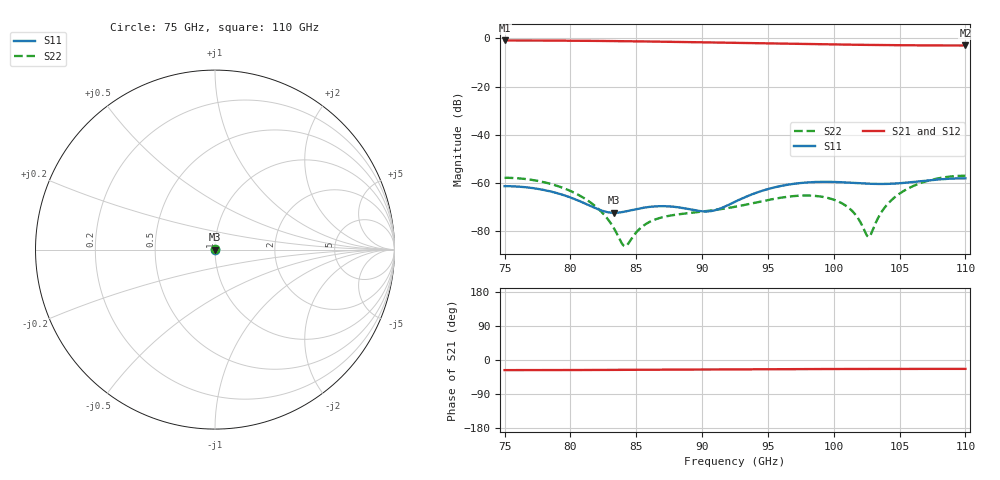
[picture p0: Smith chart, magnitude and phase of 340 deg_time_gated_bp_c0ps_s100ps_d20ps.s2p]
# Hz S RI R 50.000000
! Metas.Vna.Tools, 2.4.7724.19584
! Metas.Vna.Data, 2.4.7724.19560
! Created: UTC 2021.04.29 12:40:11
! FREQ  re:S1,1  im:S1,1  re:S2,1  im:S2,1  re:S1,2  im:S1,2  re:S2,2  im:S2,2
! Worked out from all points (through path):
!   1401 points, 75 GHz to 110 GHz, reference 50 ohm
!   highest |S21| = -0.85 dB at 75 GHz (marker M1); lowest = -2.9 dB at 110 GHz (marker M2)
!   lowest |S11| = -72.4 dB at 83.33 GHz (marker M3), VSWR 1.00, Z = 50 + j0.0114 ohm
!   |S11| at or under -10 dB: start of sweep to end of sweep
!   |S22| runs from -86.2 to -57.0 dB; largest |S21 - S12| = 0.097
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7.5e10  -0.000435 -0.000742  0.8095 -0.4076  0.7684 -0.4959  -0.00112 0.00063
7.815e10  -0.000411 -0.000567  0.8066 -0.4045  0.7663 -0.492  -0.000882 0.0005
8.085e10  -0.000339 -0.000219  0.7997 -0.3972  0.7613 -0.4826  -0.000455 0.000252
8.2275e10  -0.000273 -1.89e-05  0.7945 -0.3919  0.7575 -0.4755  -0.000239 0.000115
8.3325e10  -0.000212 0.000114  0.79 -0.3873  0.7544 -0.4694  -0.00011 2.42e-05
8.36e10  -0.000195 0.000145  0.7887 -0.3861  0.7535 -0.4677  -8.12e-05 2.65e-06
8.4975e10  -9.84e-05 0.000269  0.782 -0.3794  0.7487 -0.4583  2.44e-05 -8.95e-05
8.6675e10  3.01e-05 0.000328  0.7725 -0.3704  0.7421 -0.4451  7.59e-05 -0.000168
9.0425e10  0.000254 4.32e-05  0.7487 -0.3492  0.7257 -0.4112  5.34e-05 -0.000258
9.25e10  0.000276 -0.0003  0.7344 -0.3374  0.7161 -0.3905  9.39e-05 -0.000307
9.53e10  0.000146 -0.000773  0.7149 -0.3223  0.7032 -0.3617  0.000256 -0.000381
9.835e10  -0.000174 -0.00103  0.6947 -0.3081  0.6902 -0.3315  0.000383 -0.000388
9.975e10  -0.000356 -0.000993  0.6863 -0.3025  0.6848 -0.3187  0.00034 -0.00033
1.0085e11  -0.000501 -0.000899  0.6802 -0.2986  0.6809 -0.3094  0.000241 -0.000251
1.01575e11  -0.000594 -0.000808  0.6764 -0.2962  0.6785 -0.3036  0.000144 -0.000184
1.02525e11  -0.000712 -0.00066  0.6718 -0.2934  0.6757 -0.2966  -1.73e-05 -7.92e-05
1.0295e11  -0.000761 -0.000585  0.6699 -0.2923  0.6745 -0.2936  -0.0001 -2.76e-05
1.03575e11  -0.000831 -0.000469  0.6673 -0.2907  0.6728 -0.2896  -0.000231 5.2e-05
1.04175e11  -0.000893 -0.000354  0.665 -0.2893  0.6714 -0.286  -0.000364 0.000131
1.05225e11  -0.000988 -0.000151  0.6614 -0.2872  0.6692 -0.2805  -0.000603 0.00027
1.066e11  -0.00109 9.14e-05  0.6577 -0.2851  0.6669 -0.2747  -0.000896 0.000436
1.1e11  -0.00119 0.000385  0.6539 -0.2829  0.6645 -0.2687  -0.00126 0.000639
